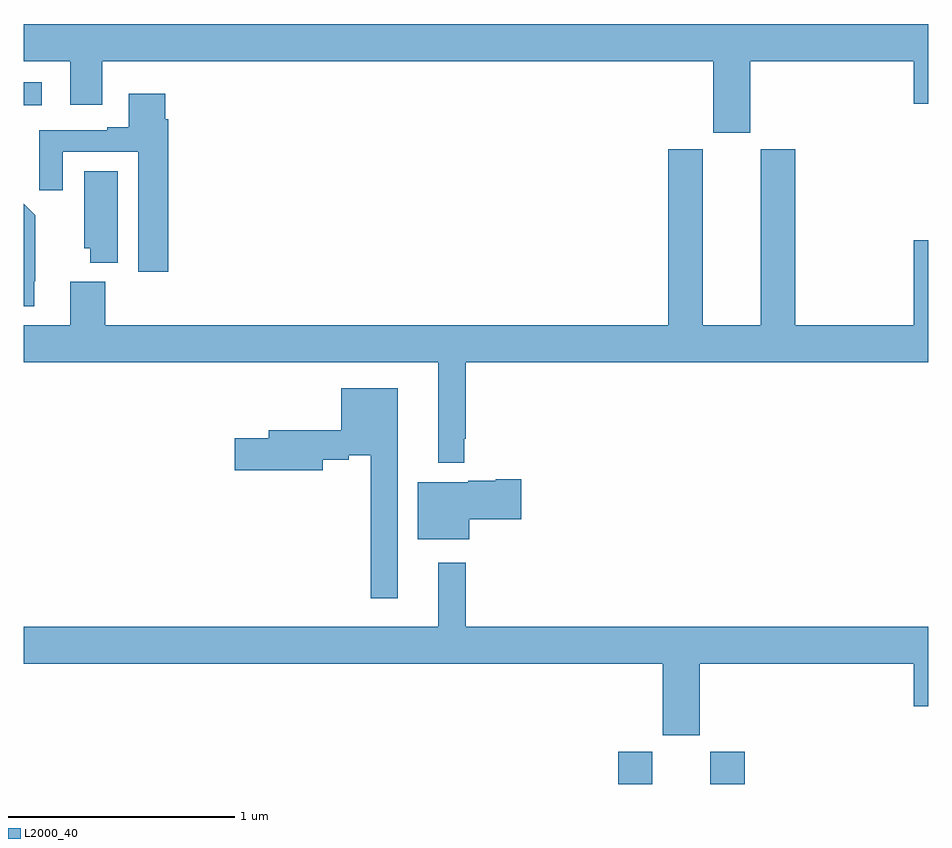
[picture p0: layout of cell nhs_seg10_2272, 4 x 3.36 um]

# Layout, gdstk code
import gdstk
lib = gdstk.Library(unit=1e-6, precision=1e-09)
def R(c, l, rs):  # rectangles x0, y0, x1, y1
    for r in rs: c.add(gdstk.rectangle(r[:2], r[2:], *l))
def P(c, l, *ps):  # polygons
    for p in ps: c.add(gdstk.Polygon(p, *l))
L2000_40 = (2000, 40)

nhs_seg10_2272 = lib.new_cell('nhs_seg10_2272')
R(nhs_seg10_2272, L2000_40, [(235.628,1250.5,235.78,1250.643), (236.036,1250.5,236.189,1250.643), (233,1253.501,233.08,1253.602)])
P(nhs_seg10_2272, L2000_40, [(236.212,1253.696),(236.936,1253.696),(236.936,1253.508),(237,1253.508),(237,1253.86),(233,1253.86),(233,1253.696),(233.207,1253.696),(233.207,1253.502),(233.347,1253.502),(233.347,1253.696),(236.048,1253.696),(236.048,1253.379),(236.212,1253.379)],
  [(233.639,1253.438),(233.626,1253.438),(233.626,1253.551),(233.465,1253.551),(233.465,1253.404),(233.369,1253.404),(233.369,1253.391),(233.069,1253.391),(233.069,1253.124),(233.173,1253.124),(233.173,1253.295),(233.507,1253.295),(233.507,1252.764),(233.639,1252.764)],
  [(234.947,1252.027),(234.955,1252.027),(234.955,1252.364),(237,1252.364),(237,1252.903),(236.936,1252.903),(236.936,1252.528),(236.411,1252.528),(236.411,1253.307),(236.258,1253.307),(236.258,1252.528),(236.002,1252.528),(236.002,1253.307),(235.85,1253.307),(235.85,1252.528),(233.36,1252.528),(233.36,1252.72),(233.207,1252.72),(233.207,1252.528),(233,1252.528),(233,1252.364),(234.833,1252.364),(234.833,1251.92),(234.947,1251.92)],
  [(233.416,1253.21),(233.267,1253.21),(233.267,1252.869),(233.294,1252.869),(233.294,1252.805),(233.416,1252.805)],
  [(233.047,1252.723),(233.051,1252.723),(233.051,1253.014),(233,1253.065),(233,1252.613),(233.047,1252.613)],
  [(234.655,1252.249),(234.404,1252.249),(234.404,1252.063),(234.083,1252.063),(234.083,1252.029),(233.934,1252.029),(233.934,1251.887),(234.322,1251.887),(234.322,1251.934),(234.437,1251.934),(234.437,1251.954),(234.534,1251.954),(234.534,1251.321),(234.655,1251.321)],
  [(234.97,1251.67),(235.201,1251.67),(235.201,1251.848),(235.088,1251.848),(235.088,1251.841),(234.966,1251.841),(234.966,1251.835),(234.743,1251.835),(234.743,1251.581),(234.97,1251.581)],
  [(235.99,1251.032),(236.936,1251.032),(236.936,1250.844),(237,1250.844),(237,1251.196),(234.955,1251.196),(234.955,1251.478),(234.833,1251.478),(234.833,1251.196),(233,1251.196),(233,1251.032),(235.826,1251.032),(235.826,1250.715),(235.99,1250.715)])

lib.write_gds('nhs_seg10_2272.gds')
